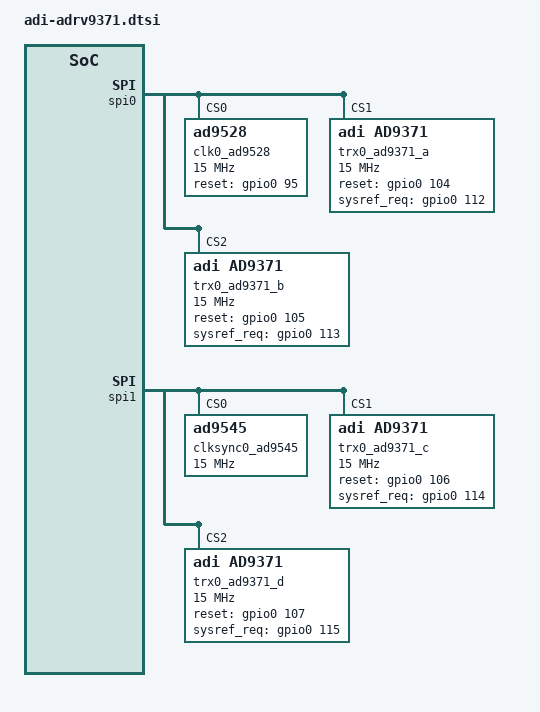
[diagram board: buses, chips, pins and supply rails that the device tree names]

#include <dt-bindings/iio/frequency/ad9528.h>


&spi0 {


	clk0_ad9528: ad9528-1@0 {
			#address-cells = <1>;
			#size-cells = <0>;
			#clock-cells = <1>;
			compatible = "ad9528";

			spi-max-frequency = <15000000>;
			//adi,spi-3wire-enable;
			reg = <0>;

			clock-output-names = "ad9528-1_out0", "ad9528-1_out1", "ad9528-1_out2", "ad9528-1_out3", "ad9528-1_out4", "ad9528-1_out5", 	"ad9528-1_out6", "ad9528-1_out7", "ad9528-1_out8", "ad9528-1_out9", "ad9528-1_out10", "ad9528-1_out11", "ad9528-1_out12", 	"ad9528-1_out13";
			adi,vcxo-freq = <30720000>;

			adi,refa-enable;
			adi,refa-diff-rcv-enable;
			adi,refa-r-div = <8>;
			//adi,osc-in-cmos-neg-inp-enable;

			/* PLL1 config */
			adi,pll1-feedback-div = <1>;
			adi,pll1-charge-pump-current-nA = <63500>;


			/* PLL2 config */
			adi,pll2-ndiv-a-cnt = <0>;
			adi,pll2-ndiv-b-cnt = <30>;
			adi,pll2-vco-diff-m1 = <3>; /* use 5 for 184320000 output device clock */
			adi,pll2-n2-div = <40>; /* N / M1 */
			adi,pll2-r1-div = <1>;
			adi,pll2-charge-pump-current-nA = <805000>;

			/* SYSREF config */
			adi,sysref-src = <SYSREF_SRC_INTERNAL>;
			adi,sysref-pattern-mode = <SYSREF_PATTERN_CONTINUOUS>;
			adi,sysref-k-div = <512>;
			adi,sysref-request-enable;
			adi,sysref-nshot-mode = <SYSREF_NSHOT_4_PULSES>;
			adi,sysref-request-trigger-mode = <SYSREF_LEVEL_HIGH>;

			adi,rpole2 = <RPOLE2_900_OHM>;
			adi,rzero = <RZERO_1850_OHM>;
			adi,cpole1 = <CPOLE1_16_PF>;

			adi,status-mon-pin0-function-select = <1>; /* PLL1 & PLL2 Locked */
			adi,status-mon-pin1-function-select = <7>; /* REFA Correct */

			ad9528_0_c0: channel@0 {
				reg = <0>;
				adi,extended-name = "C_AD9373_SYSREFCLK";
				adi,driver-mode = <DRIVER_MODE_LVDS>;
				adi,divider-phase = <0>;
				adi,channel-divider = <10>;
				adi,signal-source = <SOURCE_SYSREF_VCO>;
			};

			ad9528_0_c1: channel@1 {
				reg = <1>;
				adi,extended-name = "C_AD9373_DEVCLK";
				adi,driver-mode = <DRIVER_MODE_LVDS>;
				adi,divider-phase = <0>;
				adi,channel-divider = <10>;
				adi,signal-source = <SOURCE_VCO>;
			};

			ad9528_0_c2: channel@2 {
				reg = <2>;
				adi,extended-name = "D_AD9373_SYSREFCLK";
				adi,driver-mode = <DRIVER_MODE_LVDS>;
				adi,divider-phase = <0>;
				adi,channel-divider = <10>;
				adi,signal-source = <SOURCE_SYSREF_VCO>;
			};

			ad9528_0_c3: channel@3 {
				reg = <3>;
				adi,extended-name = "D_AD9373_DEVCLK";
				adi,driver-mode = <DRIVER_MODE_LVDS>;
				adi,divider-phase = <0>;
				adi,channel-divider = <10>;
				adi,signal-source = <SOURCE_VCO>;
			};
			ad9528_0_c4: channel@4 {
				reg = <4>;
				adi,extended-name = "A_AD9373_DEVCLK";
				adi,driver-mode = <DRIVER_MODE_LVDS>;
				adi,divider-phase = <0>;
				adi,channel-divider = <10>;
				adi,signal-source = <SOURCE_VCO>;
			};

			ad9528_0_c5: channel@5 {
				reg = <5>;
				adi,extended-name = "A_AD9373_SYSREFCLK";
				adi,driver-mode = <DRIVER_MODE_LVDS>;
				adi,divider-phase = <0>;
				adi,channel-divider = <10>;
				adi,signal-source = <SOURCE_SYSREF_VCO>;
			};

			ad9528_0_c6: channel@6 {
				reg = <6>;
				adi,extended-name = "B_AD9373_DEVCLK";
				adi,driver-mode = <DRIVER_MODE_LVDS>;
				adi,divider-phase = <0>;
				adi,channel-divider = <10>;
				adi,signal-source = <SOURCE_VCO>;
			};

			ad9528_0_c7: channel@7 {
				reg = <7>;
				adi,extended-name = "B_AD9373_SYSREFCLK";
				adi,driver-mode = <DRIVER_MODE_LVDS>;
				adi,divider-phase = <0>;
				adi,channel-divider = <10>;
				adi,signal-source = <SOURCE_SYSREF_VCO>;
			};
			ad9528_0_c8: channel@8 {
				reg = <8>;
				adi,extended-name = "S3_REFCLKP";
				adi,driver-mode = <DRIVER_MODE_LVDS>;
				adi,divider-phase = <0>;
				adi,channel-divider = <10>;
				adi,signal-source = <SOURCE_VCO>;
			};

			ad9528_0_c9: channel@9 {
				reg = <9>;
				adi,extended-name = "S4_REFCLKP";
				adi,driver-mode = <DRIVER_MODE_LVDS>;
				adi,divider-phase = <0>;
				adi,channel-divider = <8>;
				adi,signal-source = <SOURCE_VCO>;
			};

			ad9528_0_c10: channel@10 {
				reg = <10>;
				adi,extended-name = "S2_REFCLKP";
				adi,driver-mode = <DRIVER_MODE_LVDS>;
				adi,divider-phase = <0>;
				adi,channel-divider = <10>;
				adi,signal-source = <SOURCE_VCO>;
			};

			ad9528_0_c11: channel@11 {
				reg = <11>;
				adi,extended-name = "FPGA_DEVCLK";
				adi,driver-mode = <DRIVER_MODE_LVDS>;
				adi,divider-phase = <0>;
				adi,channel-divider = <10>;
				adi,signal-source = <SOURCE_VCO>;
			};

			ad9528_0_c12: channel@12 {
				reg = <12>;
				adi,extended-name = "FPGA_SYSREFCLK1";
				adi,driver-mode = <DRIVER_MODE_LVDS>;
				adi,divider-phase = <0>;
				adi,channel-divider = <10>;
				adi,signal-source = <SOURCE_SYSREF_VCO>;
			};

			ad9528_0_c13: channel@13 {
				reg = <13>;
				adi,extended-name = "S1_REFCLKP";
				adi,driver-mode = <DRIVER_MODE_LVDS>;
				adi,divider-phase = <0>;
				adi,channel-divider = <10>;
				adi,signal-source = <SOURCE_VCO>;
			};
	};

	trx0_ad9371_a: ad9371-phy-a@1 {
		compatible = "adi,ad9371";
		reg = <1>;
		/* SPI Setup */
		spi-max-frequency = <15000000>;

		/* Clocks */
		clocks = <&jesd_Rx_axi_0>, <&jesd_Tx_axi_0>, <&clk0_ad9528 4>, <&clk0_ad9528 4>, <&clk0_ad9528 11>;
		clock-names = "jesd_rx_clk", "jesd_tx_clk","jesd_rx_os_clk", "dev_clk", "fmc_clk";

		clock-output-names = "rx_sampl_clk", "rx_os_sampl_clk", "tx_sampl_clk","lo_rx_clk","lo_tx_clk";
		#clock-cells = <1>;

		/include/ "ad9371_mux.dtsi"
	};

	trx0_ad9371_b: ad9371-phy-b@2 {
		compatible = "adi,ad9371";
		reg = <2>;
		/* SPI Setup */
		spi-max-frequency = <15000000>;

		/* Clocks */
		clocks = <&jesd_Rx_axi_1>, <&jesd_Tx_axi_1>, <&clk0_ad9528 6>, <&clk0_ad9528 6>, <&clk0_ad9528 11>;
		clock-names = "jesd_rx_clk", "jesd_tx_clk","jesd_rx_os_clk", "dev_clk", "fmc_clk";

		clock-output-names = "rx_sampl_clk", "rx_os_sampl_clk", "tx_sampl_clk","lo_rx_clk","lo_tx_clk";
		#clock-cells = <1>;

		/include/ "ad9371_mux.dtsi"
	};

};

&spi1 {

	clksync0_ad9545: ad9545-lpc@0 {
			#address-cells = <1>;
			#size-cells = <0>;
			#clock-cells = <1>;
			compatible = "ad9545";
			reg = <0>;

			//spi-3wire;
			spi-max-frequency = <15000000>;

			//reset-gpios = <&gpio_daq1 3 0>;

			clock-output-names = "ad9545-1_out0", "ad9545-1_out1", "ad9545-1_out2";

/include/ "ad9545map.dtsi"

			ad9545_0_c0:channel@0 {
				reg = <0>;
				extended-name = "OUT0A";
				clock-frequency = <184320000>;
			};
			ad9545_0_c1:channel@1 {
				reg = <1>;
				extended-name = "OUT0B";
				clock-frequency = <184320000>;

			};
			ad9545_0_c2:channel@2 {
				reg = <2>;
				extended-name = "OUT0C";
				clock-frequency = <184320000>;

			};
			ad9545_0_c3:channel@3 {
				reg = <3>;
				extended-name = "OUT1A";
				clock-frequency = <184320000>;

			};
			ad9545_0_c4:channel@4 {
				reg = <4>;
				extended-name = "OUT1B";
				clock-frequency = <184320000>;

			};
	};



	trx0_ad9371_c: ad9371-phy-c@1 {
		compatible = "adi,ad9371";
		reg = <1>;
		/* SPI Setup */
		spi-max-frequency = <15000000>;

		/* Clocks */
		clocks = <&jesd_Rx_axi_2>, <&jesd_Tx_axi_2>, <&clk0_ad9528 1>, <&clk0_ad9528 1>, <&clk0_ad9528 11>;
		clock-names = "jesd_rx_clk", "jesd_tx_clk","jesd_rx_os_clk", "dev_clk", "fmc_clk";

		clock-output-names = "rx_sampl_clk", "rx_os_sampl_clk", "tx_sampl_clk","lo_rx_clk","lo_tx_clk";
		#clock-cells = <1>;

		/include/ "ad9371_mux.dtsi"
	};

	trx0_ad9371_d: ad9371-phy-d@2 {
		compatible = "adi,ad9371";
		reg = <2>;
		/* SPI Setup */
		spi-max-frequency = <15000000>;

		/* Clocks */
		clocks = <&jesd_Rx_axi_3>, <&jesd_Tx_axi_3>, <&clk0_ad9528 3>, <&clk0_ad9528 3>, <&clk0_ad9528 11>;
		clock-names = "jesd_rx_clk", "jesd_tx_clk","jesd_rx_os_clk", "dev_clk", "fmc_clk";

		clock-output-names = "rx_sampl_clk", "rx_os_sampl_clk", "tx_sampl_clk","lo_rx_clk","lo_tx_clk";
		#clock-cells = <1>;

		/include/ "ad9371_mux.dtsi"
	};

};

//-------------------------------------------------------------------------------------------

&trx0_ad9371_a {
	reset-gpios = <&gpio0 104 0>; //50
	//test-gpios = <&gpio0 107 0>;
	sysref_req-gpios = <&gpio0 112 0>; //58
	//rx2_enable-gpios = <&gpio0 108 0>;
	//rx1_enable-gpios = <&gpio0 109 0>;
	//tx2_enable-gpios = <&gpio0 110 0>;
	//tx1_enable-gpios = <&gpio0 111 0>;
};

&trx0_ad9371_b {
	reset-gpios = <&gpio0 105 0>; //51
	sysref_req-gpios = <&gpio0 113 0>; //59
};

&trx0_ad9371_c {
	reset-gpios = <&gpio0 106 0>; //52
	sysref_req-gpios = <&gpio0 114 0>; //60
};

&trx0_ad9371_d {
	reset-gpios = <&gpio0 107 0>; //53
	sysref_req-gpios = <&gpio0 115 0>; //61
};

&clk0_ad9528 {
	reset-gpios = <&gpio0 95 0>;
};


// ad9371_dac_fifo_bypass_s 60
// ad9528_reset_b,       // 59
// ad9528_sysref_req,    // 58
// ad9371_tx1_enable,    // 57
// ad9371_tx2_enable,    // 56
// ad9371_rx1_enable,    // 55
// ad9371_rx2_enable,    // 54
// ad9371_test,          // 53
// ad9371_reset_b,       // 52
// ad9371_gpint,         // 51
// ad9371_gpio_00,       // 50
// ad9371_gpio_01,       // 49
// ad9371_gpio_02,       // 48
// ad9371_gpio_03,       // 47
// ad9371_gpio_04,       // 46
// ad9371_gpio_05,       // 45
// ad9371_gpio_06,       // 44
// ad9371_gpio_07,       // 43
// ad9371_gpio_15,       // 42
// ad9371_gpio_08,       // 41
// ad9371_gpio_09,       // 40
// ad9371_gpio_10,       // 39
// ad9371_gpio_11,       // 38
// ad9371_gpio_12,       // 37
// ad9371_gpio_14,       // 36
// ad9371_gpio_13,       // 35
// ad9371_gpio_17,       // 34
// ad9371_gpio_16,       // 33
// ad9371_gpio_18}));    // 32 + 54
